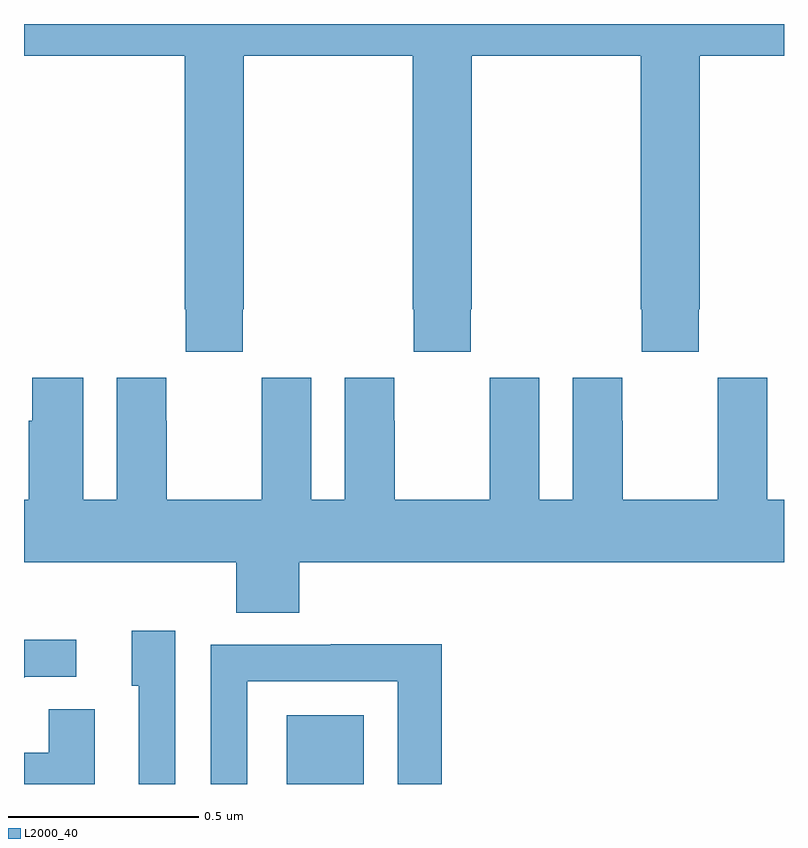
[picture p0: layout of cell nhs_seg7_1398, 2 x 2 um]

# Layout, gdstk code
import gdstk
lib = gdstk.Library(unit=1e-6, precision=1e-09)
def R(c, l, rs):  # rectangles x0, y0, x1, y1
    for r in rs: c.add(gdstk.rectangle(r[:2], r[2:], *l))
def P(c, l, *ps):  # polygons
    for p in ps: c.add(gdstk.Polygon(p, *l))
L2000_40 = (2000, 40)

nhs_seg7_1398 = lib.new_cell('nhs_seg7_1398')
R(nhs_seg7_1398, L2000_40, [(130.691,1032,130.894,1032.181)])
P(nhs_seg7_1398, L2000_40, [(130,1033.916),(130.423,1033.916),(130.423,1033.249),(130.425,1033.249),(130.425,1033.137),(130.575,1033.137),(130.575,1033.249),(130.578,1033.249),(130.578,1033.916),(131.023,1033.916),(131.023,1033.249),(131.025,1033.249),(131.025,1033.137),(131.175,1033.137),(131.175,1033.249),(131.178,1033.249),(131.178,1033.916),(131.623,1033.916),(131.623,1033.249),(131.625,1033.249),(131.625,1033.137),(131.775,1033.137),(131.775,1033.249),(131.778,1033.249),(131.778,1033.916),(132,1033.916),(132,1034),(130,1034)],
  [(130.724,1032.584),(132,1032.584),(132,1032.748),(131.956,1032.748),(131.956,1033.069),(131.826,1033.069),(131.826,1032.956),(131.825,1032.956),(131.825,1032.748),(131.575,1032.748),(131.575,1032.956),(131.574,1032.956),(131.574,1033.069),(131.444,1033.069),(131.444,1032.748),(131.356,1032.748),(131.356,1033.069),(131.226,1033.069),(131.226,1032.956),(131.225,1032.956),(131.225,1032.748),(130.975,1032.748),(130.975,1032.956),(130.974,1032.956),(130.974,1033.069),(130.844,1033.069),(130.844,1032.748),(130.756,1032.748),(130.756,1033.069),(130.626,1033.069),(130.626,1032.956),(130.625,1032.956),(130.625,1032.748),(130.375,1032.748),(130.375,1032.956),(130.374,1032.956),(130.374,1033.069),(130.244,1033.069),(130.244,1032.748),(130.156,1032.748),(130.156,1033.069),(130.022,1033.069),(130.022,1032.956),(130.013,1032.956),(130.013,1032.748),(130,1032.748),(130,1032.584),(130.559,1032.584),(130.559,1032.451),(130.724,1032.451)],
  [(130.398,1032.403),(130.283,1032.403),(130.283,1032.258),(130.302,1032.258),(130.302,1032),(130.398,1032)],
  [(130.003,1032.282),(130.138,1032.282),(130.138,1032.38),(130,1032.38),(130,1032.279)],
  [(130.587,1032.27),(130.983,1032.27),(130.983,1032),(131.099,1032),(131.099,1032.368),(130.807,1032.368),(130.807,1032.366),(130.491,1032.366),(130.491,1032),(130.587,1032)],
  [(130.186,1032.197),(130.065,1032.197),(130.065,1032.082),(130,1032.082),(130,1032),(130.186,1032)])

lib.write_gds('nhs_seg7_1398.gds')
